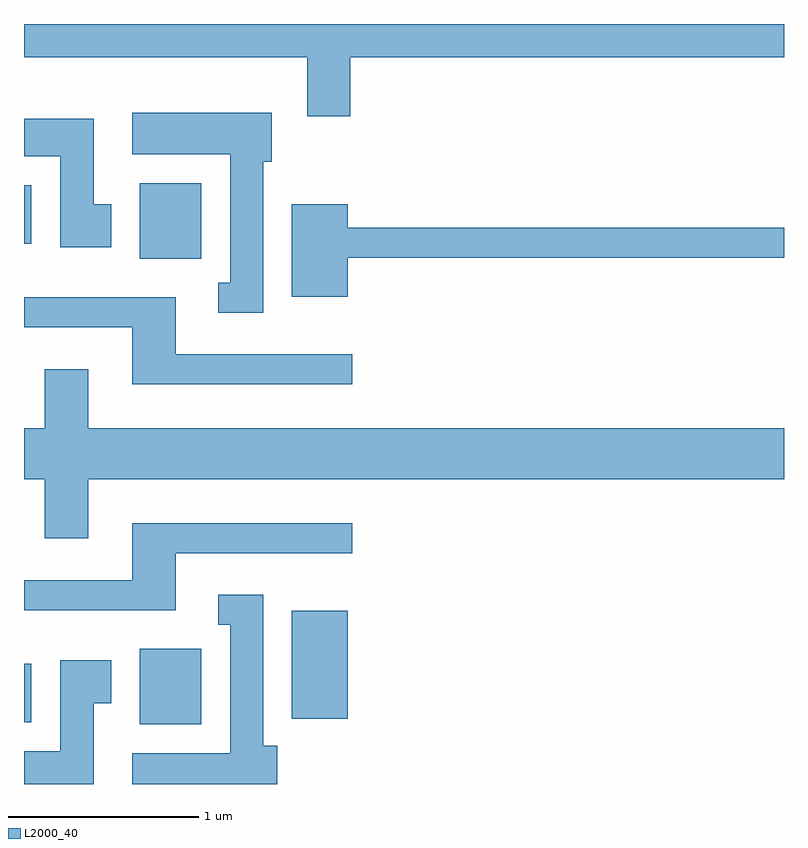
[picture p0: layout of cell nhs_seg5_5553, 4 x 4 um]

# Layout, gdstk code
import gdstk
lib = gdstk.Library(unit=1e-6, precision=1e-09)
def R(c, l, rs):  # rectangles x0, y0, x1, y1
    for r in rs: c.add(gdstk.rectangle(r[:2], r[2:], *l))
def P(c, l, *ps):  # polygons
    for p in ps: c.add(gdstk.Polygon(p, *l))
L2000_40 = (2000, 40)

nhs_seg5_5553 = lib.new_cell('nhs_seg5_5553')
R(nhs_seg5_5553, L2000_40, [(350.221,1464.386,350.544,1464.784), (349.611,1464.396,349.649,1464.704), (351.021,1464.416,351.314,1464.984), (350.221,1466.836,350.544,1467.234), (349.611,1466.916,349.649,1467.224)])
P(nhs_seg5_5553, L2000_40, [(351.329,1467.896),(353.611,1467.896),(353.611,1468.072),(349.611,1468.072),(349.611,1467.896),(351.101,1467.896),(351.101,1467.586),(351.329,1467.586)],
  [(350.869,1467.346),(350.914,1467.346),(350.914,1467.604),(350.181,1467.604),(350.181,1467.386),(350.696,1467.386),(350.696,1466.709),(350.633,1466.709),(350.633,1466.551),(350.869,1466.551)],
  [(350.069,1467.124),(349.979,1467.124),(349.979,1467.574),(349.611,1467.574),(349.611,1467.376),(349.801,1467.376),(349.801,1466.896),(350.069,1466.896)],
  [(351.314,1466.841),(353.611,1466.841),(353.611,1466.999),(351.314,1466.999),(351.314,1467.124),(351.021,1467.124),(351.021,1466.636),(351.314,1466.636)],
  [(351.338,1466.334),(350.409,1466.334),(350.409,1466.634),(349.611,1466.634),(349.611,1466.476),(350.181,1466.476),(350.181,1466.176),(351.338,1466.176)],
  [(349.949,1465.676),(353.611,1465.676),(353.611,1465.944),(349.949,1465.944),(349.949,1466.254),(349.721,1466.254),(349.721,1465.944),(349.611,1465.944),(349.611,1465.676),(349.721,1465.676),(349.721,1465.366),(349.949,1465.366)],
  [(350.409,1465.286),(351.338,1465.286),(351.338,1465.444),(350.181,1465.444),(350.181,1465.144),(349.611,1465.144),(349.611,1464.986),(350.409,1464.986)],
  [(350.944,1464.274),(350.869,1464.274),(350.869,1465.069),(350.633,1465.069),(350.633,1464.911),(350.696,1464.911),(350.696,1464.234),(350.181,1464.234),(350.181,1464.072),(350.944,1464.072)],
  [(349.979,1464.496),(350.069,1464.496),(350.069,1464.724),(349.801,1464.724),(349.801,1464.244),(349.611,1464.244),(349.611,1464.072),(349.979,1464.072)])

lib.write_gds('nhs_seg5_5553.gds')
